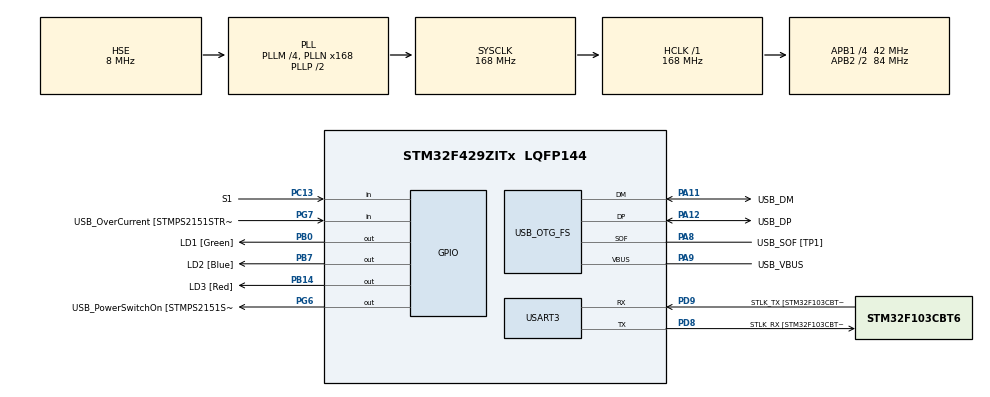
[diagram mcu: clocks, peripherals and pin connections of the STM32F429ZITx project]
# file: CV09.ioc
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Mcu.Family=STM32F4
Mcu.Name=STM32F429ZITx
Mcu.Package=LQFP144
NVIC.OTG_FS_IRQn=true\:0\:0\:false\:false\:true\:false\:true\:true
NVIC.PriorityGroup=NVIC_PRIORITYGROUP_4
PA1.GPIO_Label=RMII_REF_CLK [LAN8742A-CZ-TR_REFCLK0]
PA1.Signal=ETH_REF_CLK
PA10.GPIO_Label=USB_ID
PA10.Signal=USB_OTG_FS_ID
PA11.GPIO_Label=USB_DM
PA11.Mode=Device_Only
PA11.Signal=USB_OTG_FS_DM
PA12.GPIO_Label=USB_DP
PA12.Mode=Device_Only
PA12.Signal=USB_OTG_FS_DP
PA13.GPIO_Label=TMS
PA13.Mode=Serial_Wire
PA13.Signal=SYS_JTMS-SWDIO
PA14.GPIO_Label=TCK
PA14.Mode=Serial_Wire
PA14.Signal=SYS_JTCK-SWCLK
PA2.GPIO_Label=RMII_MDIO [LAN8742A-CZ-TR_MDIO]
PA2.Signal=ETH_MDIO
PA7.GPIO_Label=RMII_CRS_DV [LAN8742A-CZ-TR_CRS_DV]
PA7.Signal=ETH_CRS_DV
PA8.GPIO_Label=USB_SOF [TP1]
PA8.Mode=Activate_SOF_FS
PA8.Signal=USB_OTG_FS_SOF
PA9.GPIO_Label=USB_VBUS
PA9.Mode=Activate_VBUS
PA9.Signal=USB_OTG_FS_VBUS
PB0.GPIO_Label=LD1 [Green]
PB0.GPIO_PuPd=GPIO_PULLUP
PB0.Signal=GPIO_Output
PB13.GPIO_Label=RMII_TXD1 [LAN8742A-CZ-TR_TXD1]
PB13.Signal=ETH_TXD1
PB14.GPIO_Label=LD3 [Red]
PB14.Signal=GPIO_Output
PB7.GPIO_Label=LD2 [Blue]
PB7.Signal=GPIO_Output
PC1.GPIO_Label=RMII_MDC [LAN8742A-CZ-TR_MDC]
PC1.Signal=ETH_MDC
PC13.GPIO_Label=S1
PC13.GPIO_PuPd=GPIO_PULLDOWN
PC13.Signal=GPIO_Input
PC14/OSC32_IN.Mode=LSE-External-Oscillator
PC14/OSC32_IN.Signal=RCC_OSC32_IN
PC15/OSC32_OUT.Mode=LSE-External-Oscillator
PC15/OSC32_OUT.Signal=RCC_OSC32_OUT
PC4.GPIO_Label=RMII_RXD0 [LAN8742A-CZ-TR_RXD0]
PC4.Signal=ETH_RXD0
PC5.GPIO_Label=RMII_RXD1 [LAN8742A-CZ-TR_RXD1]
PC5.Signal=ETH_RXD1
PD8.GPIO_Label=STLK_RX [STM32F103CBT6_PA3]
PD8.Mode=Asynchronous
PD8.Signal=USART3_TX
PD9.GPIO_Label=STLK_TX [STM32F103CBT6_PA2]
PD9.Mode=Asynchronous
PD9.Signal=USART3_RX
PG11.GPIO_Label=RMII_TX_EN [LAN8742A-CZ-TR_TXEN]
PG11.Signal=ETH_TX_EN
PG13.GPIO_Label=RMII_TXD0 [LAN8742A-CZ-TR_TXD0]
PG13.Signal=ETH_TXD0
PG6.GPIO_Label=USB_PowerSwitchOn [STMPS2151STR_EN]
PG6.Signal=GPIO_Output
PG7.GPIO_Label=USB_OverCurrent [STMPS2151STR_FAULT]
PG7.Signal=GPIO_Input
PH0/OSC_IN.GPIO_Label=MCO [STM32F103CBT6_PA8]
PH0/OSC_IN.Mode=HSE-External-Clock-Source
PH0/OSC_IN.Signal=RCC_OSC_IN
PH1/OSC_OUT.Mode=HSE-External-Clock-Source
PH1/OSC_OUT.Signal=RCC_OSC_OUT
ProjectManager.HeapSize=0x200
ProjectManager.StackSize=0x400
ProjectManager.TargetToolchain=STM32CubeIDE
RCC.48MHZClocksFreq_Value=48000000
RCC.AHBFreq_Value=168000000
RCC.APB1CLKDivider=RCC_HCLK_DIV4
RCC.APB1Freq_Value=42000000
RCC.APB1TimFreq_Value=84000000
RCC.APB2CLKDivider=RCC_HCLK_DIV2
RCC.APB2Freq_Value=84000000
RCC.APB2TimCLKDivider=2
RCC.APB2TimFreq_Value=168000000
RCC.CortexFreq_Value=168000000
RCC.HCLKFreq_Value=168000000
RCC.HSE_VALUE=8000000
RCC.HSI_VALUE=16000000
RCC.PLLM=4
RCC.PLLMUL=RCC_PLL_MUL9
RCC.PLLN=168
RCC.PLLQ=7
RCC.PRESCALERUSB=RCC_USBCLKSOURCE_PLL_DIV1_5
RCC.SYSCLKFreq_VALUE=168000000
RCC.SYSCLKSource=RCC_SYSCLKSOURCE_PLLCLK
RCC.SYSCLKSourceVirtual=RCC_SYSCLKSOURCE_PLLCLK
RCC.USBFreq_Value=48000000
RCC.VCOOutputFreq_Value=336000000
USART3.VirtualMode=VM_ASYNC
USB_DEVICE.CLASS_NAME_FS=HID
USB_DEVICE.VirtualMode-HID_FS=Hid
USB_DEVICE.VirtualModeFS=Hid_FS
USB_OTG_FS.VirtualMode=Device_Only
VP_USB_DEVICE_VS_USB_DEVICE_HID_FS.Mode=HID_FS
board=NUCLEO-F429ZI

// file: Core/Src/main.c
/* USER CODE BEGIN Header */
/**
 ******************************************************************************
 * @file           : main.c
 * @brief          : Main program body
 ******************************************************************************
 * @attention
 *
 * Copyright (c) 2024 STMicroelectronics.
 * All rights reserved.
 *
 * This software is licensed under terms that can be found in the LICENSE file
 * in the root directory of this software component.
 * If no LICENSE file comes with this software, it is provided AS-IS.
 *
 ******************************************************************************
 */
/* USER CODE END Header */
#include "main.h"
#include "usb_device.h"

/* USER CODE BEGIN Includes */
#include "usbd_hid.h"
#include "math.h"
#include "stdbool.h"
/* USER CODE END Includes */

/* USER CODE BEGIN PD */
extern USBD_HandleTypeDef hUsbDeviceFS;
/* USER CODE END PD */

UART_HandleTypeDef huart3;

void SystemClock_Config(void);
static void MX_GPIO_Init(void);
static void MX_USART3_UART_Init(void);
/* USER CODE BEGIN PFP */

void step(int x, int y, bool S1) {
	uint8_t buff[4];
	buff[0] = (S1) ? 0x01 : 0x00;  // If S1 is true, set the left button as pressed (0x01)
	buff[1] = (int32_t)(x);  // X move
	buff[2] = (int32_t)(y);  // Y move
	buff[3] = 0;            // Scroll
	USBD_HID_SendReport(&hUsbDeviceFS, buff, sizeof(buff));
	HAL_Delay(USBD_HID_GetPollingInterval(&hUsbDeviceFS));
}

void circle(int radius) {
	/*Kruh*/
	const uint8_t stepp = 50;
	float angle = 2 * M_PI / stepp;

	static int32_t sx = 0;
	static int32_t sy = 0;

	for (int i = 0; i <= stepp; i++) {

		float fi = i * angle;
		float x = radius * cosf(fi);
		float y = radius * sinf(fi);

		int32_t difx = x - sx;
		int32_t dify = y - sy;
		step(difx,dify,1);
		sx += difx;
		sy += dify;
	}
	step(0,0,0);
	/*Oko1*/
	static int32_t sx2 = 90;
	static int32_t sy2 = 10;
	step(sx2,sy2,0);

	for(int i = 0; i <= stepp; i++){
		float fi = i * angle;
		float x2 = 30 * cosf(fi);
		float y2 = 30 * sinf(fi);

		int32_t difx2 = x2 - sx2;
		int32_t dify2 = y2 - sy2;
		step(difx2,dify2,1);
		sx2 += difx2;
		sy2 += dify2;

	}
	step(0, 0, 0);
	/*Oko2*/
	static int32_t sx3 = 50;
	static int32_t sy3 = 0;
	step(sx3,sy3,0);

	for(int i = 0; i <= stepp; i++){
		float fi = i * angle;
		float x3 = 30 * cosf(fi);
		float y3 = 30 * sinf(fi);

		int32_t difx3 = x3 - sx3;
		int32_t dify3 = y3 - sy3;
		step(difx3,dify3,1);
		sx3 += difx3;
		sy3 += dify3;

	}
	step(0, 0, 0);
	/*pusa*/

	static int32_t sx4 = 20;
	static int32_t sy4 = 20;
	step(sx4,sy4,0);

	for(int i = 0; i <= stepp/2; i++){
		float fi = i * angle;
		float x4 = 70 * cosf(fi);
		float y4 = 70 * sinf(fi);

		int32_t difx4 = x4 - sx4;
		int32_t dify4 = y4 - sy4;
		step(difx4,dify4,1);
		sx4 += difx4;
		sy4 += dify4;

	}
	step(0, 0, 0);
	/*nos*/
	static int32_t sx5 = 30;
	static int32_t sy5 = 1;
	step(sx5,sy5,0);

	for(int i = 0; i <= stepp; i++){
		float fi = i * angle;
		float x5 = 30 * cosf(fi)*0;
		float y5 = 30 * sinf(fi);

		int32_t difx5 = x5 - sx5;
		int32_t dify5 = y5 - sy5;
		step(difx5,dify5,1);
		sx5 += difx5;
		sy5 += dify5;

	}
	step(0, 0, 0);

}

/* USER CODE END PFP */

int main(void)
{

	/* MCU Configuration--------------------------------------------------------*/

	/* Reset of all peripherals, Initializes the Flash interface and the Systick. */
	HAL_Init();

	/* Configure the system clock */
	SystemClock_Config();

	/* Initialize all configured peripherals */
	MX_GPIO_Init();
	MX_USART3_UART_Init();
	MX_USB_DEVICE_Init();

	/* Infinite loop */
	/* USER CODE BEGIN WHILE */
	while (1)
	{
		if (HAL_GPIO_ReadPin(S1_GPIO_Port, S1_Pin) == 1)
		{
			circle(100);
			HAL_GPIO_TogglePin(LD1_GPIO_Port, LD1_Pin);
			/*uint8_t buff[4];
		  buff[0] = 0x01; // press the left button
		  buff[1] = (int8_t)(10); // shift X +10
		  buff[2] = (int8_t)(-3); // shift Y -3
		  buff[3] = 0; // no scroll
		  HAL_GPIO_TogglePin(LD1_GPIO_Port, LD1_Pin);
		  USBD_HID_SendReport(&hUsbDeviceFS, buff, sizeof(buff));
		  HAL_Delay(USBD_HID_GetPollingInterval(&hUsbDeviceFS));*/
		}

		/* USER CODE END WHILE */

	}
}

void SystemClock_Config(void)
{
	RCC_OscInitTypeDef RCC_OscInitStruct = {0};
	RCC_ClkInitTypeDef RCC_ClkInitStruct = {0};

	/** Configure the main internal regulator output voltage
	 */
	__HAL_RCC_PWR_CLK_ENABLE();
	__HAL_PWR_VOLTAGESCALING_CONFIG(PWR_REGULATOR_VOLTAGE_SCALE1);

	/** Initializes the RCC Oscillators according to the specified parameters
	 * in the RCC_OscInitTypeDef structure.
	 */
	RCC_OscInitStruct.OscillatorType = RCC_OSCILLATORTYPE_HSE;
	RCC_OscInitStruct.HSEState = RCC_HSE_BYPASS;
	RCC_OscInitStruct.PLL.PLLState = RCC_PLL_ON;
	RCC_OscInitStruct.PLL.PLLSource = RCC_PLLSOURCE_HSE;
	RCC_OscInitStruct.PLL.PLLM = 4;
	RCC_OscInitStruct.PLL.PLLN = 168;
	RCC_OscInitStruct.PLL.PLLP = RCC_PLLP_DIV2;
	RCC_OscInitStruct.PLL.PLLQ = 7;
	if (HAL_RCC_OscConfig(&RCC_OscInitStruct) != HAL_OK)
	{
		Error_Handler();
	}

	/** Initializes the CPU, AHB and APB buses clocks
	 */
	RCC_ClkInitStruct.ClockType = RCC_CLOCKTYPE_HCLK|RCC_CLOCKTYPE_SYSCLK
			|RCC_CLOCKTYPE_PCLK1|RCC_CLOCKTYPE_PCLK2;
	RCC_ClkInitStruct.SYSCLKSource = RCC_SYSCLKSOURCE_PLLCLK;
	RCC_ClkInitStruct.AHBCLKDivider = RCC_SYSCLK_DIV1;
	RCC_ClkInitStruct.APB1CLKDivider = RCC_HCLK_DIV4;
	RCC_ClkInitStruct.APB2CLKDivider = RCC_HCLK_DIV2;

	if (HAL_RCC_ClockConfig(&RCC_ClkInitStruct, FLASH_LATENCY_5) != HAL_OK)
	{
		Error_Handler();
	}
}

static void MX_USART3_UART_Init(void)
{

	huart3.Instance = USART3;
	huart3.Init.BaudRate = 115200;
	huart3.Init.WordLength = UART_WORDLENGTH_8B;
	huart3.Init.StopBits = UART_STOPBITS_1;
	huart3.Init.Parity = UART_PARITY_NONE;
	huart3.Init.Mode = UART_MODE_TX_RX;
	huart3.Init.HwFlowCtl = UART_HWCONTROL_NONE;
	huart3.Init.OverSampling = UART_OVERSAMPLING_16;
	if (HAL_UART_Init(&huart3) != HAL_OK)
	{
		Error_Handler();
	}

}

static void MX_GPIO_Init(void)
{
	GPIO_InitTypeDef GPIO_InitStruct = {0};

	/* GPIO Ports Clock Enable */
	__HAL_RCC_GPIOC_CLK_ENABLE();
	__HAL_RCC_GPIOH_CLK_ENABLE();
	__HAL_RCC_GPIOA_CLK_ENABLE();
	__HAL_RCC_GPIOB_CLK_ENABLE();
	__HAL_RCC_GPIOD_CLK_ENABLE();
	__HAL_RCC_GPIOG_CLK_ENABLE();

	/*Configure GPIO pin Output Level */
	HAL_GPIO_WritePin(GPIOB, LD1_Pin|LD3_Pin|LD2_Pin, GPIO_PIN_RESET);

	/*Configure GPIO pin Output Level */
	HAL_GPIO_WritePin(USB_PowerSwitchOn_GPIO_Port, USB_PowerSwitchOn_Pin, GPIO_PIN_RESET);

	/*Configure GPIO pin : S1_Pin */
	GPIO_InitStruct.Pin = S1_Pin;
	GPIO_InitStruct.Mode = GPIO_MODE_INPUT;
	GPIO_InitStruct.Pull = GPIO_PULLDOWN;
	HAL_GPIO_Init(S1_GPIO_Port, &GPIO_InitStruct);

	/*Configure GPIO pins : RMII_MDC_Pin RMII_RXD0_Pin RMII_RXD1_Pin */
	GPIO_InitStruct.Pin = RMII_MDC_Pin|RMII_RXD0_Pin|RMII_RXD1_Pin;
	GPIO_InitStruct.Mode = GPIO_MODE_AF_PP;
	GPIO_InitStruct.Pull = GPIO_NOPULL;
	GPIO_InitStruct.Speed = GPIO_SPEED_FREQ_VERY_HIGH;
	GPIO_InitStruct.Alternate = GPIO_AF11_ETH;
	HAL_GPIO_Init(GPIOC, &GPIO_InitStruct);

	/*Configure GPIO pins : RMII_REF_CLK_Pin RMII_MDIO_Pin RMII_CRS_DV_Pin */
	GPIO_InitStruct.Pin = RMII_REF_CLK_Pin|RMII_MDIO_Pin|RMII_CRS_DV_Pin;
	GPIO_InitStruct.Mode = GPIO_MODE_AF_PP;
	GPIO_InitStruct.Pull = GPIO_NOPULL;
	GPIO_InitStruct.Speed = GPIO_SPEED_FREQ_VERY_HIGH;
	GPIO_InitStruct.Alternate = GPIO_AF11_ETH;
	HAL_GPIO_Init(GPIOA, &GPIO_InitStruct);

	/*Configure GPIO pin : LD1_Pin */
	GPIO_InitStruct.Pin = LD1_Pin;
	GPIO_InitStruct.Mode = GPIO_MODE_OUTPUT_PP;
	GPIO_InitStruct.Pull = GPIO_PULLUP;
	GPIO_InitStruct.Speed = GPIO_SPEED_FREQ_LOW;
	HAL_GPIO_Init(LD1_GPIO_Port, &GPIO_InitStruct);

	/*Configure GPIO pin : RMII_TXD1_Pin */
	GPIO_InitStruct.Pin = RMII_TXD1_Pin;
	GPIO_InitStruct.Mode = GPIO_MODE_AF_PP;
	GPIO_InitStruct.Pull = GPIO_NOPULL;
	GPIO_InitStruct.Speed = GPIO_SPEED_FREQ_VERY_HIGH;
	GPIO_InitStruct.Alternate = GPIO_AF11_ETH;
	HAL_GPIO_Init(RMII_TXD1_GPIO_Port, &GPIO_InitStruct);

	/*Configure GPIO pins : LD3_Pin LD2_Pin */
	GPIO_InitStruct.Pin = LD3_Pin|LD2_Pin;
	GPIO_InitStruct.Mode = GPIO_MODE_OUTPUT_PP;
	GPIO_InitStruct.Pull = GPIO_NOPULL;
	GPIO_InitStruct.Speed = GPIO_SPEED_FREQ_LOW;
	HAL_GPIO_Init(GPIOB, &GPIO_InitStruct);

	/*Configure GPIO pin : USB_PowerSwitchOn_Pin */
	GPIO_InitStruct.Pin = USB_PowerSwitchOn_Pin;
	GPIO_InitStruct.Mode = GPIO_MODE_OUTPUT_PP;
	GPIO_InitStruct.Pull = GPIO_NOPULL;
	GPIO_InitStruct.Speed = GPIO_SPEED_FREQ_LOW;
	HAL_GPIO_Init(USB_PowerSwitchOn_GPIO_Port, &GPIO_InitStruct);

	/*Configure GPIO pin : USB_OverCurrent_Pin */
	GPIO_InitStruct.Pin = USB_OverCurrent_Pin;
	GPIO_InitStruct.Mode = GPIO_MODE_INPUT;
	GPIO_InitStruct.Pull = GPIO_NOPULL;
	HAL_GPIO_Init(USB_OverCurrent_GPIO_Port, &GPIO_InitStruct);

	/*Configure GPIO pins : RMII_TX_EN_Pin RMII_TXD0_Pin */
	GPIO_InitStruct.Pin = RMII_TX_EN_Pin|RMII_TXD0_Pin;
	GPIO_InitStruct.Mode = GPIO_MODE_AF_PP;
	GPIO_InitStruct.Pull = GPIO_NOPULL;
	GPIO_InitStruct.Speed = GPIO_SPEED_FREQ_VERY_HIGH;
	GPIO_InitStruct.Alternate = GPIO_AF11_ETH;
	HAL_GPIO_Init(GPIOG, &GPIO_InitStruct);

}

void Error_Handler(void)
{
	__disable_irq();
	while (1)
	{
	}
}
